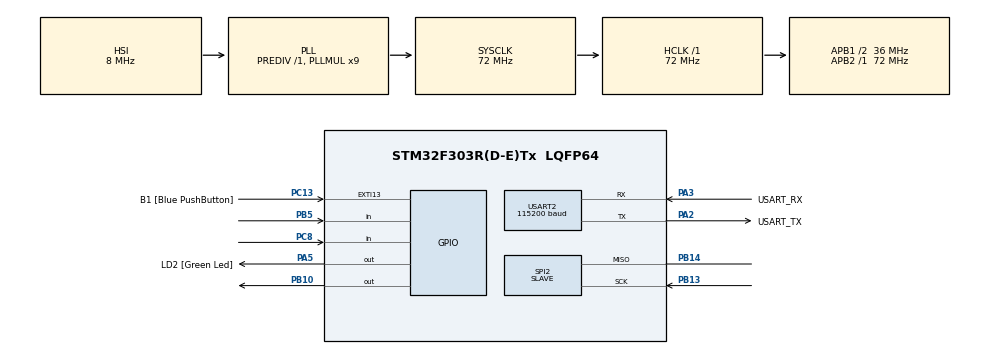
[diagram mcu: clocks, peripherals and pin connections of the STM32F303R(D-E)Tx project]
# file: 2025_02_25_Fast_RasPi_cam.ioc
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Mcu.Family=STM32F3
Mcu.Name=STM32F303R(D-E)Tx
Mcu.Package=LQFP64
NVIC.PriorityGroup=NVIC_PRIORITYGROUP_0
PA13.GPIO_Label=TMS
PA13.Mode=Serial_Wire
PA13.Signal=SYS_JTMS-SWDIO
PA14.GPIO_Label=TCK
PA14.Mode=Serial_Wire
PA14.Signal=SYS_JTCK-SWCLK
PA2.GPIO_Label=USART_TX
PA2.GPIO_Mode=GPIO_MODE_AF_PP
PA2.GPIO_PuPd=GPIO_NOPULL
PA2.GPIO_Speed=GPIO_SPEED_FREQ_LOW
PA2.Mode=Asynchronous
PA2.Signal=USART2_TX
PA3.GPIO_Label=USART_RX
PA3.GPIO_Mode=GPIO_MODE_AF_PP
PA3.GPIO_PuPd=GPIO_NOPULL
PA3.GPIO_Speed=GPIO_SPEED_FREQ_LOW
PA3.Mode=Asynchronous
PA3.Signal=USART2_RX
PA5.GPIO_Label=LD2 [Green Led]
PA5.GPIO_Mode=GPIO_MODE_OUTPUT_PP
PA5.GPIO_PuPd=GPIO_NOPULL
PA5.GPIO_Speed=GPIO_SPEED_FREQ_LOW
PA5.Signal=GPIO_Output
PB10.GPIO_PuPd=GPIO_PULLDOWN
PB10.Signal=GPIO_Output
PB13.Mode=Simplex_Bidirectional_Slave
PB13.Signal=SPI2_SCK
PB14.Mode=Simplex_Bidirectional_Slave
PB14.Signal=SPI2_MISO
PB3.GPIO_Label=SWO
PB3.Signal=SYS_JTDO-TRACESWO
PB5.GPIO_PuPd=GPIO_PULLDOWN
PB5.Signal=GPIO_Input
PC13.GPIO_Label=B1 [Blue PushButton]
PC13.GPIO_ModeDefaultEXTI=GPIO_MODE_IT_FALLING
PC13.Signal=GPXTI13
PC14-OSC32_IN.Mode=LSE-External-Oscillator
PC14-OSC32_IN.Signal=RCC_OSC32_IN
PC15-OSC32_OUT.Mode=LSE-External-Oscillator
PC15-OSC32_OUT.Signal=RCC_OSC32_OUT
PC8.GPIO_PuPd=GPIO_PULLDOWN
PC8.Signal=GPIO_Input
PF0-OSC_IN.Mode=HSE-External-Clock-Source
PF0-OSC_IN.Signal=RCC_OSC_IN
PF1-OSC_OUT.Signal=RCC_OSC_OUT
ProjectManager.HeapSize=0x200
ProjectManager.StackSize=0x400
ProjectManager.TargetToolchain=STM32CubeIDE
RCC.AHBFreq_Value=72000000
RCC.APB1CLKDivider=RCC_HCLK_DIV2
RCC.APB1Freq_Value=36000000
RCC.APB1TimFreq_Value=72000000
RCC.APB2Freq_Value=72000000
RCC.APB2TimFreq_Value=72000000
RCC.CortexFreq_Value=72000000
RCC.HCLKFreq_Value=72000000
RCC.HSE_VALUE=8000000
RCC.HSI_VALUE=8000000
RCC.PLLM=8
RCC.PLLMUL=RCC_PLL_MUL9
RCC.PLLN=336
RCC.PLLP=RCC_PLLP_DIV4
RCC.PLLQ=7
RCC.RCC_PLLsource_Clock_Source_FROM_HSE=RCC_HSE_PREDIV_DIV2
RCC.SYSCLKFreq_VALUE=72000000
RCC.SYSCLKSourceVirtual=RCC_SYSCLKSOURCE_PLLCLK
RCC.USBFreq_Value=72000000
SPI2.Direction=SPI_DIRECTION_1LINE
SPI2.Mode=SPI_MODE_SLAVE
SPI2.VirtualType=VM_SLAVE
USART2.BaudRate=115200
USART2.VirtualMode-Asynchronous=VM_ASYNC
board=NUCLEO-F303RE

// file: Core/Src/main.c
/* USER CODE BEGIN Header */
/**
  ******************************************************************************
  * @file           : main.c
  * @brief          : Main program body
  ******************************************************************************
  * @attention
  *
  * Copyright (c) 2025 STMicroelectronics.
  * All rights reserved.
  *
  * This software is licensed under terms that can be found in the LICENSE file
  * in the root directory of this software component.
  * If no LICENSE file comes with this software, it is provided AS-IS.
  *
  ******************************************************************************
  */
/* USER CODE END Header */
#include "main.h"

/* USER CODE BEGIN Includes */
#include <stdio.h>
#include <string.h>
#include <strings.h>
/* USER CODE END Includes */

SPI_HandleTypeDef hspi2;

UART_HandleTypeDef huart2;

/* USER CODE BEGIN PV */
uint8_t RX_Buffer [2] ; // DATA to receive
uint8_t spiDATA [2];
/* USER CODE END PV */

void SystemClock_Config(void);
static void MX_GPIO_Init(void);
static void MX_USART2_UART_Init(void);
static void MX_SPI2_Init(void);

int main(void)
{

  /* MCU Configuration--------------------------------------------------------*/

  /* Reset of all peripherals, Initializes the Flash interface and the Systick. */
  HAL_Init();

  /* Configure the system clock */
  SystemClock_Config();

  /* Initialize all configured peripherals */
  MX_GPIO_Init();
  MX_USART2_UART_Init();
  MX_SPI2_Init();

  /* Infinite loop */
  while (1)
  {

    /* USER CODE BEGIN 3 */
	  if(HAL_GPIO_ReadPin(GPIOC, GPIO_PIN_8) == 1){

	  HAL_GPIO_WritePin(GPIOB, GPIO_PIN_10, GPIO_PIN_SET);
	  HAL_Delay(300);
	  HAL_GPIO_WritePin(GPIOB, GPIO_PIN_10, GPIO_PIN_RESET);
	  		while(HAL_GPIO_ReadPin(GPIOB, GPIO_PIN_5) == 1){
	  			HAL_SPI_Receive(&hspi2, RX_Buffer, sizeof(RX_Buffer), HAL_MAX_DELAY); //Receiving in Blocking mode
	  			HAL_Delay(50);
	  			uint8_t data = ((RX_Buffer[0] << 4) | RX_Buffer[1]);

	  			char buf[3];
	  			buf[0] = data;
	  			buf[1] = 13;
	  			buf[2] = 10;

	  		//	sprintf(buf, "%d\r\n", data);  // Convert number to string
	  		//  change huartX to your initialized HAL UART peripheral
	  			HAL_UART_Transmit(&huart2, (uint8_t*)buf, strlen(buf), HAL_MAX_DELAY);
	  			HAL_Delay(50);
	  		}
	  }
	  else HAL_GPIO_TogglePin(GPIOA, GPIO_PIN_5);
	  HAL_Delay(500);

  }
  /* USER CODE END 3 */
}

void SystemClock_Config(void)
{
  RCC_OscInitTypeDef RCC_OscInitStruct = {0};
  RCC_ClkInitTypeDef RCC_ClkInitStruct = {0};
  RCC_PeriphCLKInitTypeDef PeriphClkInit = {0};

  /** Initializes the RCC Oscillators according to the specified parameters
  * in the RCC_OscInitTypeDef structure.
  */
  RCC_OscInitStruct.OscillatorType = RCC_OSCILLATORTYPE_HSI;
  RCC_OscInitStruct.HSIState = RCC_HSI_ON;
  RCC_OscInitStruct.HSICalibrationValue = RCC_HSICALIBRATION_DEFAULT;
  RCC_OscInitStruct.PLL.PLLState = RCC_PLL_ON;
  RCC_OscInitStruct.PLL.PLLSource = RCC_PLLSOURCE_HSI;
  RCC_OscInitStruct.PLL.PLLMUL = RCC_PLL_MUL9;
  RCC_OscInitStruct.PLL.PREDIV = RCC_PREDIV_DIV1;
  if (HAL_RCC_OscConfig(&RCC_OscInitStruct) != HAL_OK)
  {
    Error_Handler();
  }

  /** Initializes the CPU, AHB and APB buses clocks
  */
  RCC_ClkInitStruct.ClockType = RCC_CLOCKTYPE_HCLK|RCC_CLOCKTYPE_SYSCLK
                              |RCC_CLOCKTYPE_PCLK1|RCC_CLOCKTYPE_PCLK2;
  RCC_ClkInitStruct.SYSCLKSource = RCC_SYSCLKSOURCE_PLLCLK;
  RCC_ClkInitStruct.AHBCLKDivider = RCC_SYSCLK_DIV1;
  RCC_ClkInitStruct.APB1CLKDivider = RCC_HCLK_DIV2;
  RCC_ClkInitStruct.APB2CLKDivider = RCC_HCLK_DIV1;

  if (HAL_RCC_ClockConfig(&RCC_ClkInitStruct, FLASH_LATENCY_2) != HAL_OK)
  {
    Error_Handler();
  }
  PeriphClkInit.PeriphClockSelection = RCC_PERIPHCLK_USART2;
  PeriphClkInit.Usart2ClockSelection = RCC_USART2CLKSOURCE_PCLK1;
  if (HAL_RCCEx_PeriphCLKConfig(&PeriphClkInit) != HAL_OK)
  {
    Error_Handler();
  }
}

static void MX_SPI2_Init(void)
{

  /* SPI2 parameter configuration*/
  hspi2.Instance = SPI2;
  hspi2.Init.Mode = SPI_MODE_SLAVE;
  hspi2.Init.Direction = SPI_DIRECTION_1LINE;
  hspi2.Init.DataSize = SPI_DATASIZE_4BIT;
  hspi2.Init.CLKPolarity = SPI_POLARITY_LOW;
  hspi2.Init.CLKPhase = SPI_PHASE_1EDGE;
  hspi2.Init.NSS = SPI_NSS_SOFT;
  hspi2.Init.FirstBit = SPI_FIRSTBIT_MSB;
  hspi2.Init.TIMode = SPI_TIMODE_DISABLE;
  hspi2.Init.CRCCalculation = SPI_CRCCALCULATION_DISABLE;
  hspi2.Init.CRCPolynomial = 7;
  hspi2.Init.CRCLength = SPI_CRC_LENGTH_DATASIZE;
  hspi2.Init.NSSPMode = SPI_NSS_PULSE_DISABLE;
  if (HAL_SPI_Init(&hspi2) != HAL_OK)
  {
    Error_Handler();
  }

}

static void MX_USART2_UART_Init(void)
{

  huart2.Instance = USART2;
  huart2.Init.BaudRate = 115200;
  huart2.Init.WordLength = UART_WORDLENGTH_8B;
  huart2.Init.StopBits = UART_STOPBITS_1;
  huart2.Init.Parity = UART_PARITY_NONE;
  huart2.Init.Mode = UART_MODE_TX_RX;
  huart2.Init.HwFlowCtl = UART_HWCONTROL_NONE;
  huart2.Init.OverSampling = UART_OVERSAMPLING_16;
  huart2.Init.OneBitSampling = UART_ONE_BIT_SAMPLE_DISABLE;
  huart2.AdvancedInit.AdvFeatureInit = UART_ADVFEATURE_NO_INIT;
  if (HAL_UART_Init(&huart2) != HAL_OK)
  {
    Error_Handler();
  }

}

static void MX_GPIO_Init(void)
{
  GPIO_InitTypeDef GPIO_InitStruct = {0};

  /* GPIO Ports Clock Enable */
  __HAL_RCC_GPIOC_CLK_ENABLE();
  __HAL_RCC_GPIOF_CLK_ENABLE();
  __HAL_RCC_GPIOA_CLK_ENABLE();
  __HAL_RCC_GPIOB_CLK_ENABLE();

  /*Configure GPIO pin Output Level */
  HAL_GPIO_WritePin(LD2_GPIO_Port, LD2_Pin, GPIO_PIN_RESET);

  /*Configure GPIO pin Output Level */
  HAL_GPIO_WritePin(GPIOB, GPIO_PIN_10, GPIO_PIN_RESET);

  /*Configure GPIO pin : B1_Pin */
  GPIO_InitStruct.Pin = B1_Pin;
  GPIO_InitStruct.Mode = GPIO_MODE_IT_FALLING;
  GPIO_InitStruct.Pull = GPIO_NOPULL;
  HAL_GPIO_Init(B1_GPIO_Port, &GPIO_InitStruct);

  /*Configure GPIO pin : LD2_Pin */
  GPIO_InitStruct.Pin = LD2_Pin;
  GPIO_InitStruct.Mode = GPIO_MODE_OUTPUT_PP;
  GPIO_InitStruct.Pull = GPIO_NOPULL;
  GPIO_InitStruct.Speed = GPIO_SPEED_FREQ_LOW;
  HAL_GPIO_Init(LD2_GPIO_Port, &GPIO_InitStruct);

  /*Configure GPIO pin : PB10 */
  GPIO_InitStruct.Pin = GPIO_PIN_10;
  GPIO_InitStruct.Mode = GPIO_MODE_OUTPUT_PP;
  GPIO_InitStruct.Pull = GPIO_PULLDOWN;
  GPIO_InitStruct.Speed = GPIO_SPEED_FREQ_LOW;
  HAL_GPIO_Init(GPIOB, &GPIO_InitStruct);

  /*Configure GPIO pin : PC8 */
  GPIO_InitStruct.Pin = GPIO_PIN_8;
  GPIO_InitStruct.Mode = GPIO_MODE_INPUT;
  GPIO_InitStruct.Pull = GPIO_PULLDOWN;
  HAL_GPIO_Init(GPIOC, &GPIO_InitStruct);

  /*Configure GPIO pin : PB5 */
  GPIO_InitStruct.Pin = GPIO_PIN_5;
  GPIO_InitStruct.Mode = GPIO_MODE_INPUT;
  GPIO_InitStruct.Pull = GPIO_PULLDOWN;
  HAL_GPIO_Init(GPIOB, &GPIO_InitStruct);

}

void Error_Handler(void)
{
  __disable_irq();
  while (1)
  {
  }
}
